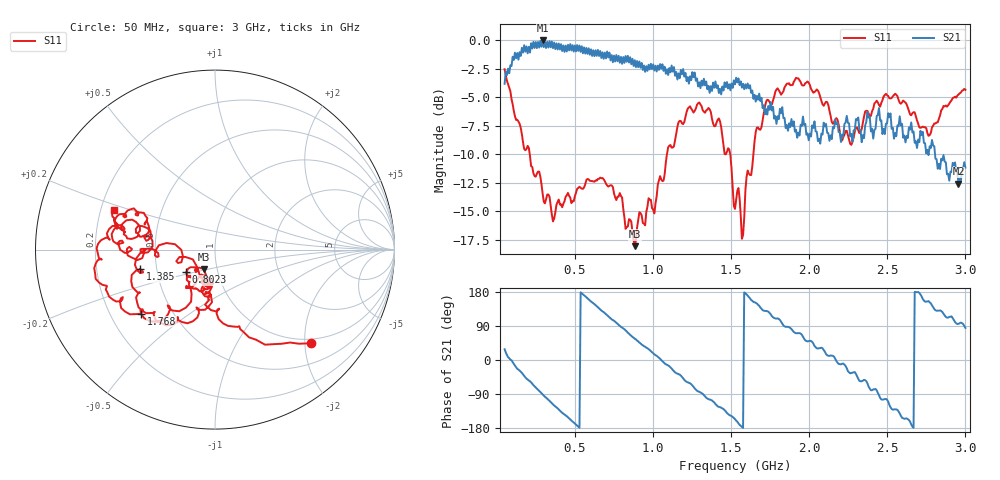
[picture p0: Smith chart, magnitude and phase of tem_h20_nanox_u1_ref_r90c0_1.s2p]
! nanovna_capture.py 2026-10-26T21:11:00+0900
! NanoVNA-F_V2 fw 0.6.0 SN 4A3639384505514B
! cal: load open short thru cal'ed  over 50000000-3000000000 Hz, 201 points
! points 401, avg 4
! TEM h=20, genuine Nano X, flat back down, 90 deg (length along cell, USB toward PORT 1), centred
# HZ S RI R 50
! S12 and S22 are not measured (written as 0)
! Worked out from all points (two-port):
!   401 points, 50 MHz to 3 GHz, reference 50 ohm
!   highest |S21| = -0.02 dB at 293.4 MHz (marker M1); lowest = -12.6 dB at 2.956 GHz (marker M2)
!   |S21| within 3 dB of the highest: 65.2 MHz to 1.097 GHz (1.032 GHz wide, 178 % of centre); 1.098 GHz to 1.141 GHz (43.04 MHz wide, 3.85 % of centre) (the widest 2 of 9)
!   lowest |S11| = -18.0 dB at 883.4 MHz (marker M3), VSWR 1.29, Z = 43.1 - j9.47 ohm
!   |S11| at or under -10 dB: 211 MHz to 1.089 GHz (878.3 MHz wide, 135 % of centre); 1.495 GHz to 1.642 GHz (147.8 MHz wide, 9.43 % of centre)
!   S12 and S22 are empty: the file has one direction only
!   S11 on the Smith chart (normalised r, x): 50 MHz: 0.90, -2.13; 802.2 MHz: 0.70, -0.19; 1.385 GHz: 0.40, -0.11; 1.768 GHz: 0.33, -0.34; 3 GHz: 0.25, +0.18
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5e7  0.5341 -0.5219  0.5674 0.3055  0 0  0 0
1.60625e8  0.0204 -0.3872  0.7681 -0.5184  0 0  0 0
2.93375e8  -0.0674 -0.2022  -0.0159 -0.9981  0 0  0 0
4.11375e8  -0.0304 -0.1886  -0.6984 -0.6608  0 0  0 0
5.44125e8  -0.062 -0.215  -0.9392 0.069  0 0  0 0
6.76875e8  -0.1415 -0.2052  -0.5501 0.6941  0 0  0 0
8.0225e8  -0.1605 -0.1266  0.061 0.786  0 0  0 0
8.83375e8  -0.0632 -0.1082  0.457 0.6785  0 0  0 0
1.03825e9  -0.0364 -0.2413  0.7374 0.0804  0 0  0 0
1.207875e9  -0.2187 -0.4068  0.4078 -0.5921  0 0  0 0
1.384875e9  -0.4175 -0.1092  -0.2185 -0.6147  0 0  0 0
1.525e9  -0.1785 -0.0378  -0.5857 -0.2604  0 0  0 0
1.576625e9  -0.0979 -0.1002  -0.6448 -0.00928  0 0  0 0
1.665125e9  -0.2376 -0.3395  -0.4896 0.2925  0 0  0 0
1.768375e9  -0.4124 -0.3571  -0.1984 0.471  0 0  0 0
2.019125e9  -0.5964 0.0675  0.2847 0.3139  0 0  0 0
2.240375e9  -0.3946 0.0712  0.4335 -0.1717  0 0  0 0
2.51325e9  -0.5438 0.12  -0.2203 -0.4038  0 0  0 0
2.653375e9  -0.429 0.1903  -0.4302 -0.075  0 0  0 0
2.800875e9  -0.4242 0.0807  -0.2405 0.2453  0 0  0 0
2.95575e9  -0.5584 0.1493  -0.022 0.2344  0 0  0 0
3e9  -0.5641 0.222  0.0256 0.2756  0 0  0 0
